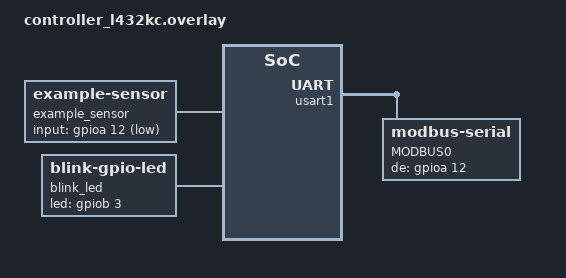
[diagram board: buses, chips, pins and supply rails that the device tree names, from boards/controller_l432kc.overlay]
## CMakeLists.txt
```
#-------------------------------------------------------------------------------
# Zephyr Example Application
#
# Copyright (c) 2021 Nordic Semiconductor ASA
# SPDX-License-Identifier: Apache-2.0

cmake_minimum_required(VERSION 3.13.1)
find_package(Zephyr REQUIRED HINTS $ENV{ZEPHYR_BASE})

project(app LANGUAGES C)

target_sources(app PRIVATE src/main.c ./../modules/MuxDriver.c ./../modules/UtilDriver.c ./../modules/LockerStatusReader.c ./../modules/LockerDriver.c ./../modules/ModbusSlave.c)
```

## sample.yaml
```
# This file is provided so that the application can be compiled using Twister,
# the Zephyr testing tool. In this file, multiple combinations can be specified,
# so that you can easily test all of them locally or in CI.
sample:
  description: Example application
  name: example-application 
tests:
  app.default: {}
  app.debug:
    build_only: false
    integration_platforms:
      - controller_l432kc
    extra_overlay_confs:
      - debug.conf
  app.robot:
    harness: robot
    harness_config:
      robot_testsuite: app.robot
```

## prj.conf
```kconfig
# Copyright (c) 2021 Nordic Semiconductor ASA
# SPDX-License-Identifier: Apache-2.0
#
# This file contains selected Kconfig options for the application.

CONFIG_SENSOR=y
CONFIG_BLINK=y

CONFIG_GPIO=y
CONFIG_SERIAL=y
CONFIG_I2C=y
# CONFIG_I2C_SHELL=y
CONFIG_SHELL=y
CONFIG_NEWLIB_LIBC=y

CONFIG_SERIAL=y
CONFIG_UART_INTERRUPT_DRIVEN=y
CONFIG_UART_LINE_CTRL=n

CONFIG_MODBUS=y
CONFIG_MODBUS_ROLE_SERVER=y
CONFIG_LOG=y

CONFIG_APP_LOG_LEVEL_DBG=y

CONFIG_DEBUG=y
CONFIG_DEBUG_OPTIMIZATIONS=y
CONFIG_NO_OPTIMIZATIONS=y
CONFIG_ISR_STACK_SIZE=4096
CONFIG_SYSTEM_WORKQUEUE_STACK_SIZE=4096
```

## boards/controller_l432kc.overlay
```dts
/*
 * Copyright (c) 2021 Nordic Semiconductor ASA
 * SPDX-License-Identifier: Apache-2.0
 */

/* This devicetree overlay file will be automatically picked by the Zephyr
 * build system when building the sample for the nucleo_f302r8 board. It shows
 * how the example-application can be built on sample boards already provided
 * by Zephyr.
 */

/ {
	example_sensor: example-sensor {
		compatible = "zephyr,example-sensor";
		input-gpios = <&gpioa 12 (GPIO_PULL_UP | GPIO_ACTIVE_LOW)>;
	};

	blink_led: blink-led {
		compatible = "blink-gpio-led";
		led-gpios = <&gpiob 3 GPIO_ACTIVE_HIGH>;
		blink-period-ms = <50>;
	};
};

&gpioc {
	status = "okay";
};

&usart1 {
	status = "okay";

	modbus0 {
		compatible = "zephyr,modbus-serial";
		label = "MODBUS0";
		status = "okay";
		de-gpios = <&gpioa 12 GPIO_ACTIVE_HIGH>;	/* D2 */
	};
};
```

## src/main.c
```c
/*
 * Copyright (c) 2021 Nordic Semiconductor ASA
 * SPDX-License-Identifier: Apache-2.0
 */

#include <zephyr/kernel.h>
#include <zephyr/drivers/sensor.h>
#include <zephyr/logging/log.h>

#include <app/drivers/blink.h>

#include <app_version.h>

#include "MuxDriver.h"
#include "UtilDriver.h"
#include "LockerDriver.h"
#include "LockerStatusReader.h"
#include "ModbusSlave.h"

LOG_MODULE_REGISTER(main, CONFIG_APP_LOG_LEVEL);

#define BLINK_PERIOD_MS_STEP 100U
#define BLINK_PERIOD_MS_MAX  1000U

int main(void)
{
	int ret;
	const struct device *sensor, *blink;

	printk("Zephyr Example Application %s\n", APP_VERSION_STRING);

	sensor = DEVICE_DT_GET(DT_NODELABEL(example_sensor));
	if (!device_is_ready(sensor)) {
		LOG_ERR("Sensor not ready");
		return 0;
	}

	blink = DEVICE_DT_GET(DT_NODELABEL(blink_led));
	if (!device_is_ready(blink)) {
		LOG_ERR("Blink LED not ready");
		return 0;
	}

	ret = blink_off(blink);
	if (ret < 0) {
		LOG_ERR("Could not turn off LED (%d)", ret);
		return 0;
	}	
	// Sleep for 2s and wait for initialization of main loops of LockerDriver and LockerStatusReader
	k_sleep(K_MSEC(2000));

	printk("Use the sensor to change LED blinking period\n");

	ModbusSlave_Init();

	UtilDriver_Init();
	MuxDriver_Init();

	UtilDriver_PWR(true);

	// LockerStatusReader_Init();
	LockerDriver_Init();	

	// LockerDriver_OpenLockerBlocking(1);
	// LockerDriver_OpenLocker(6);

	LOG_INF("Hello World");

	blink_set_period_ms(blink, BLINK_PERIOD_MS_MAX);
	while (1) {

		k_sleep(K_MSEC(100));
	}

	return 0;
}
```

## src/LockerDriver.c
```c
/**
 * @file LockerDriver.c
 * @author Przemysław Gąsior (pgasior@sii.pl)
 * @brief Module controlling outputs for the lockers
 * @version 0.1
 * @date 2024-10-15
 *
 * @copyright Copyright (c) 2024 Przemysław Gąsior
 * @license The MIT License (MIT)
 */

#include "LockerDriver.h"
#include "LockerStatusReader.h"
#include "main.h"

#include <stdio.h>
#include <zephyr/logging/log.h>

#include "MuxDriver.h"
#include "UtilDriver.h"

LOG_MODULE_REGISTER(lckr_drv, LOG_LEVEL_INF);

bool isInitialized = false;

/**
 * @brief Truth table for config of Mux GPIOs
 *
 * @details  * Truth table for controlling each of the outputs:
 * +========+=====+=====+====+====+====+====+
 * | Locker | \E1 | \E2 | S0 | S1 | S2 | S3 |
 * +========+=====+=====+====+====+====+====+
 * |   1    |  0  |  1  | 0  | 0  | 0  | 0  |
 * |   2    |  0  |  1  | 0  | 0  | 0  | 1  |
 * |   3    |  0  |  1  | 0  | 0  | 1  | 0  |
 * |   4    |  0  |  1  | 0  | 0  | 1  | 1  |
 * |   5    |  0  |  1  | 0  | 1  | 0  | 0  |
 * |   6    |  0  |  1  | 0  | 1  | 0  | 1  |
 * |   7    |  0  |  1  | 0  | 1  | 1  | 0  |
 * |   8    |  0  |  1  | 0  | 1  | 1  | 1  |
 * |   9    |  1  |  0  | 0  | 0  | 0  | 0  |
 * |   10   |  1  |  0  | 0  | 0  | 0  | 1  |
 * |   11   |  1  |  0  | 0  | 0  | 1  | 0  |
 * |   12   |  1  |  0  | 0  | 0  | 1  | 1  |
 * |   13   |  1  |  0  | 0  | 1  | 0  | 0  |
 * |   14   |  1  |  0  | 0  | 1  | 0  | 1  |
 * |   15   |  1  |  0  | 0  | 1  | 1  | 0  |
 * |   16   |  0  |  1  | 1  | 1  | 0  | 0  |
 * |   17   |  0  |  1  | 1  | 0  | 1  | 1  |
 * |   18   |  0  |  1  | 1  | 0  | 1  | 0  |
 * |   19   |  0  |  1  | 1  | 0  | 0  | 1  |
 * |   20   |  0  |  1  | 1  | 0  | 0  | 0  |
 * |   21   |  1  |  0  | 0  | 1  | 1  | 1  |
 * |   22   |  1  |  0  | 1  | 0  | 0  | 0  |
 * |   23   |  1  |  0  | 1  | 0  | 0  | 1  |
 * |   24   |  1  |  0  | 1  | 0  | 1  | 0  |
 * +--------+-----+-----+----+----+----+----+
 */

uint8_t LockerDriver_Init(void) {
    if (isInitialized) {
        printf("LockerDriver already Initialized! \r\n");
        return 1;
    }

    isInitialized = true;
    LOG_INF("LockerDriver Initialized");

    return 0;
}

/**
 * @brief Main control loop of the LockerDriver module
 * @details Should be executed periodically with 2-10Hz frequency
 *
 */
void LockerDriver_Loop(void) {
    if (isInitialized) {
    }
}

static void mainThreadLockerDriver(void){
    do {
        k_msleep(500);
    } while (!isInitialized);

    LOG_INF("mainThreadLockerDriver entered");

    while(1) {
        k_msleep(LCKR_DRIVER_PERIOD);
        LockerDriver_Loop();
    }
}

K_THREAD_DEFINE(lckrdriver_id, STACKSIZE, mainThreadLockerDriver, NULL, NULL, NULL,
		PRIORITY, 0, 0);
```

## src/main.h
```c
#ifndef MAIN_H
#define MAIN_H

#include <zephyr/kernel.h>
#include <zephyr/device.h>
#include <zephyr/devicetree.h>
#include <zephyr/drivers/gpio.h>

/* size of stack area used by each thread */
#define STACKSIZE 1024

/* scheduling priority used by each thread */
#define PRIORITY 7

/* 1000 msec = 1 sec */
#define SLEEP_TIME_MS   1000

#endif
```
